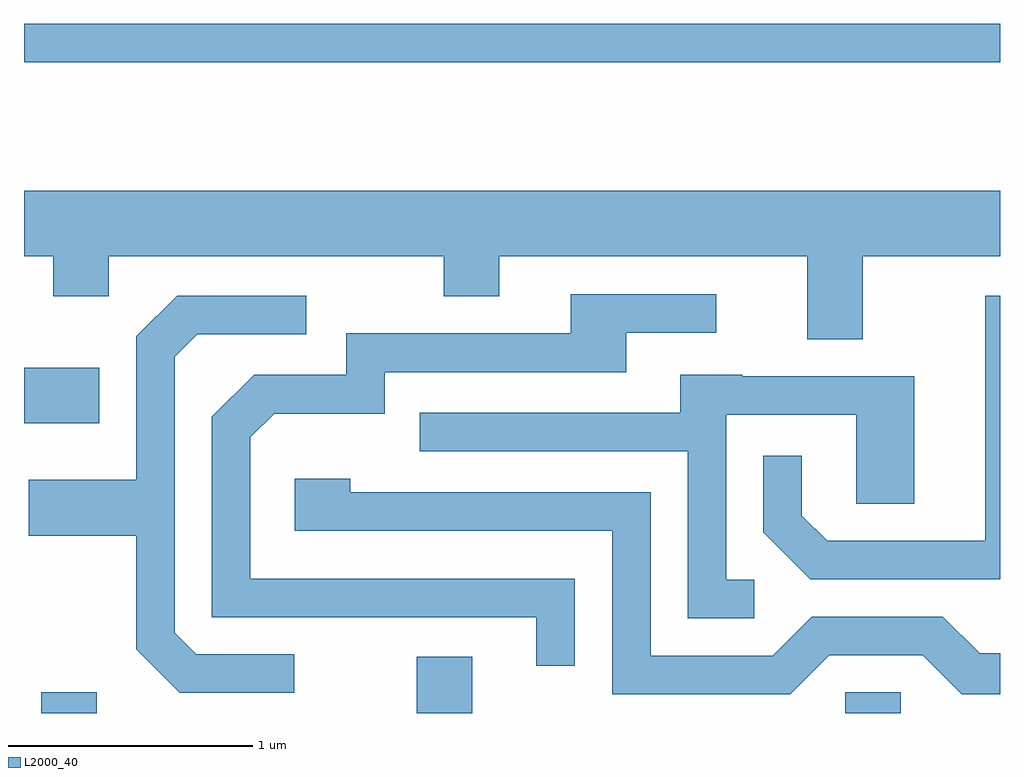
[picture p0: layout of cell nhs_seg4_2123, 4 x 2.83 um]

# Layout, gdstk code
import gdstk
lib = gdstk.Library(unit=1e-6, precision=1e-09)
def R(c, l, rs):  # rectangles x0, y0, x1, y1
    for r in rs: c.add(gdstk.rectangle(r[:2], r[2:], *l))
def P(c, l, *ps):  # polygons
    for p in ps: c.add(gdstk.Polygon(p, *l))
L2000_40 = (2000, 40)

nhs_seg4_2123 = lib.new_cell('nhs_seg4_2123')
R(nhs_seg4_2123, L2000_40, [(247.681,1283.982,247.909,1284.069), (249.221,1283.982,249.449,1284.214), (250.976,1283.982,251.204,1284.069), (247.611,1285.171,247.919,1285.399), (247.611,1286.651,251.611,1286.809)])
P(nhs_seg4_2123, L2000_40, [(251.049,1285.856),(251.611,1285.856),(251.611,1286.124),(247.611,1286.124),(247.611,1285.856),(247.731,1285.856),(247.731,1285.691),(247.959,1285.691),(247.959,1285.856),(249.331,1285.856),(249.331,1285.691),(249.559,1285.691),(249.559,1285.856),(250.821,1285.856),(250.821,1285.516),(251.049,1285.516)],
  [(249.869,1284.534),(248.539,1284.534),(248.539,1285.114),(248.637,1285.211),(249.089,1285.211),(249.089,1285.381),(250.079,1285.381),(250.079,1285.541),(250.448,1285.541),(250.448,1285.699),(249.851,1285.699),(249.851,1285.539),(248.931,1285.539),(248.931,1285.369),(248.554,1285.369),(248.381,1285.197),(248.381,1284.376),(249.711,1284.376),(249.711,1284.178),(249.869,1284.178)],
  [(251.611,1285.694),(251.551,1285.694),(251.551,1284.689),(250.902,1284.689),(250.799,1284.792),(250.799,1285.038),(250.641,1285.038),(250.641,1284.724),(250.834,1284.531),(251.611,1284.531)],
  [(248.718,1284.224),(248.317,1284.224),(248.229,1284.312),(248.229,1285.444),(248.322,1285.536),(248.768,1285.536),(248.768,1285.694),(248.239,1285.694),(248.071,1285.527),(248.071,1284.939),(247.631,1284.939),(247.631,1284.711),(248.071,1284.711),(248.071,1284.244),(248.249,1284.066),(248.718,1284.066)],
  [(250.603,1284.529),(250.489,1284.529),(250.489,1285.206),(251.021,1285.206),(251.021,1284.841),(251.259,1284.841),(251.259,1285.364),(250.555,1285.364),(250.555,1285.369),(250.301,1285.369),(250.301,1285.214),(249.233,1285.214),(249.233,1285.056),(250.331,1285.056),(250.331,1284.371),(250.603,1284.371)],
  [(250.912,1284.221),(251.294,1284.221),(251.454,1284.061),(251.611,1284.061),(251.611,1284.229),(251.527,1284.229),(251.377,1284.379),(250.839,1284.379),(250.679,1284.219),(250.179,1284.219),(250.179,1284.889),(248.949,1284.889),(248.949,1284.944),(248.721,1284.944),(248.721,1284.731),(250.021,1284.731),(250.021,1284.061),(250.752,1284.061)])

lib.write_gds('nhs_seg4_2123.gds')
